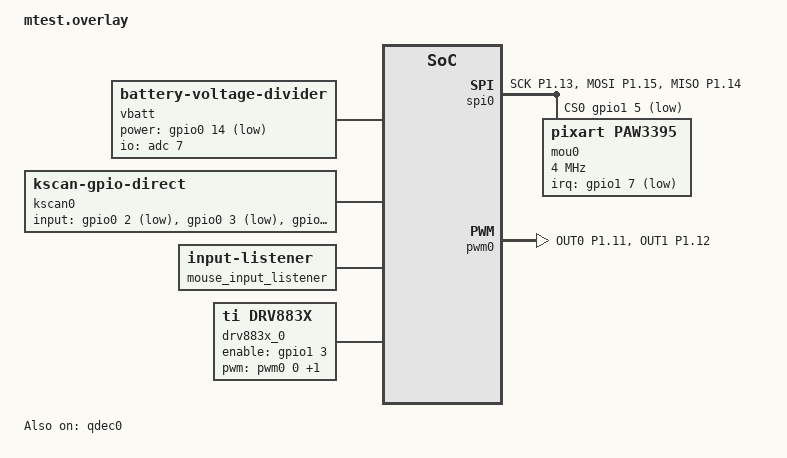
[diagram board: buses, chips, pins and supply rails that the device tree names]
#include <dt-bindings/zmk/matrix_transform.h>
#include <input/processors.dtsi>

/ {
    chosen {
        zmk,battery = &vbatt;
        zmk,kscan = &kscan0;
        zmk,matrix-transform = &default_transform;
    }; 

    vbatt: vbatt {
        compatible = "zmk,battery-voltage-divider";
        io-channels = <&adc 7>;
        power-gpios = <&gpio0 14 (GPIO_OPEN_DRAIN | GPIO_ACTIVE_LOW)>;
        output-ohms = <510000>;
        full-ohms = <(1000000 + 510000)>;
    };

    default_transform: keymap_transform0 {
        compatible = "zmk,matrix-transform";
        columns = <12>;
        rows = <1>;

        map = <
            RC(0,0)
            RC(0,1)
            RC(0,2)
            RC(0,3)
            RC(0,4)
            RC(0,5)
            RC(0,6)
            RC(0,7)
            RC(0,8)
            RC(0,9)
            RC(0,10)
            RC(0,11)
        >;
    };

    kscan0: kscan {
        compatible = "zmk,kscan-gpio-direct";
        wakeup-source;
        input-gpios
            = <&gpio0 2 (GPIO_ACTIVE_LOW)>
            , <&gpio0 3 (GPIO_ACTIVE_LOW)>
            , <&gpio0 15 (GPIO_ACTIVE_LOW | GPIO_PULL_UP)>
            , <&gpio1 1 (GPIO_ACTIVE_LOW | GPIO_PULL_UP)>
            , <&gpio0 29 (GPIO_ACTIVE_LOW | GPIO_PULL_UP)>
            , <&gpio0 9 (GPIO_ACTIVE_LOW | GPIO_PULL_UP)>
            , <&gpio0 19 (GPIO_ACTIVE_LOW | GPIO_PULL_UP)>
            , <&gpio0 28 (GPIO_ACTIVE_LOW | GPIO_PULL_UP)>
            , <&gpio0 16 (GPIO_ACTIVE_LOW | GPIO_PULL_UP)>
            , <&gpio1 0 (GPIO_ACTIVE_LOW | GPIO_PULL_UP)>
            , <&gpio1 10 (GPIO_ACTIVE_LOW | GPIO_PULL_UP)>
            , <&gpio0 10 (GPIO_ACTIVE_HIGH | GPIO_PULL_DOWN)>
            ;
    };

    sensors: sensors {
        compatible = "zmk,keymap-sensors";
        sensors = <&encoder>;
        triggers-per-rotation = <24>;
    };

};

&uicr {
        nfct-pins-as-gpios;
};

&pinctrl {
	spi0_default: spi0_default {
		group1 {
			psels = <NRF_PSEL(SPIM_SCK, 1, 13)>,
			<NRF_PSEL(SPIM_MOSI, 1, 15)>,
			<NRF_PSEL(SPIM_MISO, 1, 14)>;
		};
	};
	spi0_sleep: spi0_sleep {
		group1 {
			psels = <NRF_PSEL(SPIM_SCK, 1, 13)>,
			<NRF_PSEL(SPIM_MOSI, 1, 15)>,
			<NRF_PSEL(SPIM_MISO, 1, 14)>;
			low-power-enable;
		};
	};
    qdec_default: qdec_default {
		group1 {
			psels = <NRF_PSEL(QDEC_A, 0, 4)>,
			<NRF_PSEL(QDEC_B, 0, 5)>;
		};
	};
	qdec_sleep: qdec_sleep {
		group1 {
			psels = <NRF_PSEL(QDEC_A, 0, 4)>,
			<NRF_PSEL(QDEC_B, 0, 5)>;
			low-power-enable;
		};
	};
    pwm0_default: pwm0_default {
        group1 {
            psels = <NRF_PSEL(PWM_OUT0, 1, 11)>,
            <NRF_PSEL(PWM_OUT1, 1, 12)>;
        };
    };
    pwm0_sleep: pwm0_sleep {
        group1 {
            psels = <NRF_PSEL(PWM_OUT0, 1, 11)>,
            <NRF_PSEL(PWM_OUT1, 1, 12)>;
            low-power-enable;
        };
    };
};

// Set up the QDEC hardware based driver and give it the same label as the deleted node.
encoder: &qdec0 {
	status = "okay";
	led-pre = <0>;
	steps = <48>;
	pinctrl-0 = <&qdec_default>;
	pinctrl-1 = <&qdec_sleep>;
	pinctrl-names = "default", "sleep";
};

#include <zephyr/dt-bindings/input/input-event-codes.h>

&spi0 {
	compatible = "nordic,nrf-spim";
    status = "okay";
	pinctrl-0 = <&spi0_default>;
	pinctrl-1 = <&spi0_sleep>;
	pinctrl-names = "default", "sleep";
    cs-gpios = <&gpio1 5 GPIO_ACTIVE_LOW>;

	mou0: pd@0 {
		compatible = "pixart,paw3395";
		status = "okay";
		reg = <0>;
		spi-max-frequency = <4000000>;

		// paw3395 driver parameters
		irq-gpios = <&gpio1 7 (GPIO_ACTIVE_LOW | GPIO_PULL_UP)>;
		cpi = <1500>;
        invert-y;
        evt-type = <INPUT_EV_REL>;
		x-input-code = <INPUT_REL_X>;
		y-input-code = <INPUT_REL_Y>;
	};
};

/ {
  mouse_input_listener {
    compatible = "zmk,input-listener";
    device = <&mou0>;
    input-processors = <&zip_xy_scaler 1 1>;
  };
};

&pwm0 {
    status= "okay";
    pinctrl-0 = <&pwm0_default>;
    pinctrl-1 = <&pwm0_sleep>;
    pinctrl-names = "default", "sleep";
};

/{
  /* setup the gpios to operate drv883x */
  drv883x_0: drv883x {
    compatible = "ti,drv883x";

    enable-gpios = <&gpio1 3 (GPIO_ACTIVE_HIGH | GPIO_PULL_DOWN)>;

    /* map PWM gpios to IN1/2 pins on drv883x */
    /* IN1/2 shall be controlled via behavior param1 0 in 'zmk,behavior-drv883x' */
    pwms = <&pwm0 0 PWM_MSEC(10) PWM_POLARITY_NORMAL>
         , <&pwm0 1 PWM_MSEC(10) PWM_POLARITY_NORMAL>
         ;
  };
};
